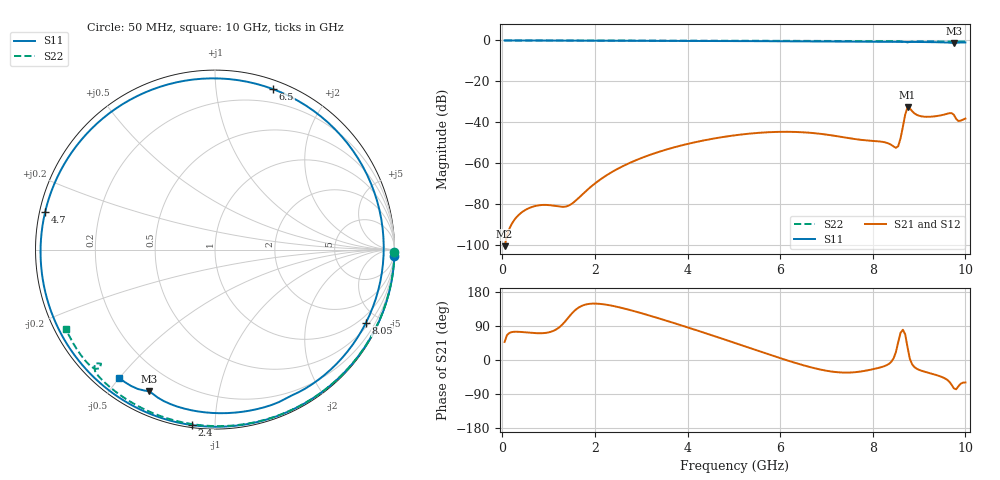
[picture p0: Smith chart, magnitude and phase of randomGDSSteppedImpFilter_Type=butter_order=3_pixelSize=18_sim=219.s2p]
! freq	dB(S11)	phase(S11)	dB(S12)	phase(S12)
!  dB(S21)	phase(S21)	dB(S22)	phase(S22)
!S-par simulation data
#  GHz  S  DB  R 50
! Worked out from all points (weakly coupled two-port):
!   200 points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, 50 MHz to 10 GHz, reference 50 ohm
!   highest |S21| = -32.62 dB at 8.75 GHz (marker M1); lowest = -100.5 dB at 50 MHz (marker M2)
!   lowest |S11| = -1.2 dB at 9.75 GHz (marker M3), VSWR 14.37, Z = 4.89 - j31.7 ohm
!   |S11| at or under -10 dB: nowhere
!   |S22| runs from -0.9 to 0.0 dB; largest |S21 - S12| = 0
!   S11 on the Smith chart (normalised r, x): 50 MHz: 0, -55; 2.4 GHz: 0.01, -0.88; 4.7 GHz: 0.02, +0.11; 6.5 GHz: 0.08, +1.42; 8.05 GHz: 0.66, -4.26; 10 GHz: 0.07, -0.50
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0.05  -0.00 -2.1  -100.54 47.6  -100.54 47.6  -0.00 -0.9
0.7  -0.03 -29.2  -80.98 70.9  -80.98 70.9  -0.01 -12.4
1.45  -0.08 -59.7  -80.52 115.5  -80.52 115.5  -0.03 -25.4
1.75  -0.09 -71.7  -74.81 144.4  -74.81 144.4  -0.04 -30.5
2.4  -0.12 -97.5  -63.88 142.4  -63.88 142.4  -0.05 -41.5
3.4  -0.18 -137.1  -54.31 109.2  -54.31 109.2  -0.08 -57.9
4.1  -0.22 -166.0  -50.06 82.2  -50.06 82.2  -0.10 -68.9
4.7  -0.27 167.4  -47.43 58.2  -47.43 58.2  -0.12 -78.2
5.05  -0.30 150.8  -46.27 43.9  -46.27 43.9  -0.13 -83.4
5.85  -0.38 108.6  -44.75 11.0  -44.75 11.0  -0.16 -95.2
6.5  -0.44 70.1  -44.89 -13.9  -44.89 -13.9  -0.20 -104.5
6.7  -0.46 57.7  -45.23 -20.4  -45.23 -20.4  -0.21 -107.3
7.05  -0.48 35.7  -46.17 -29.4  -46.17 -29.4  -0.23 -112.2
7.4  -0.52 13.6  -47.43 -33.3  -47.43 -33.3  -0.26 -117.0
8.05  -0.59 -25.8  -49.17 -23.0  -49.17 -23.0  -0.31 -126.1
8.35  -0.63 -43.1  -50.45 -10.1  -50.45 -10.1  -0.34 -130.4
8.55  -0.68 -54.2  -51.64 47.6  -51.64 47.6  -0.39 -133.6
8.75  -0.74 -64.6  -32.62 34.0  -32.62 34.0  -0.93 -135.0
9.05  -0.76 -80.6  -37.08 -28.3  -37.08 -28.3  -0.43 -138.5
9.75  -1.21 -114.8  -36.31 -74.8  -36.31 -74.8  -0.50 -148.5
9.85  -1.04 -118.9  -39.39 -69.1  -39.39 -69.1  -0.50 -149.8
10  -0.99 -126.9  -38.19 -59.3  -38.19 -59.3  -0.52 -151.9
